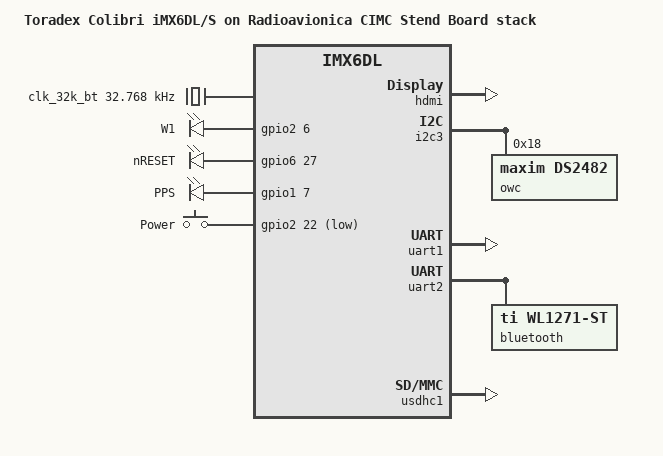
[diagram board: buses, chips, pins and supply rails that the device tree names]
/*
 * Copyright 2014-2016 Toradex AG
 * Copyright 2012 Freescale Semiconductor, Inc.
 * Copyright 2011 Linaro Ltd.
 *
 * This file is dual-licensed: you can use it either under the terms
 * of the GPL or the X11 license, at your option. Note that this dual
 * licensing only applies to this file, and not this project as a
 * whole.
 *
 *  a) This file is free software; you can redistribute it and/or
 *     modify it under the terms of the GNU General Public License
 *     version 2 as published by the Free Software Foundation.
 *
 *     This file is distributed in the hope that it will be useful
 *     but WITHOUT ANY WARRANTY; without even the implied warranty of
 *     MERCHANTABILITY or FITNESS FOR A PARTICULAR PURPOSE.  See the
 *     GNU General Public License for more details.
 *
 * Or, alternatively
 *
 *  b) Permission is hereby granted, free of charge, to any person
 *     obtaining a copy of this software and associated documentation
 *     files (the "Software"), to deal in the Software without
 *     restriction, including without limitation the rights to use
 *     copy, modify, merge, publish, distribute, sublicense, and/or
 *     sell copies of the Software, and to permit persons to whom the
 *     Software is furnished to do so, subject to the following
 *     conditions:
 *
 *     The above copyright notice and this permission notice shall be
 *     included in all copies or substantial portions of the Software.
 *
 *     THE SOFTWARE IS PROVIDED , WITHOUT WARRANTY OF ANY KIND
 *     EXPRESS OR IMPLIED, INCLUDING BUT NOT LIMITED TO THE WARRANTIES
 *     OF MERCHANTABILITY, FITNESS FOR A PARTICULAR PURPOSE AND
 *     NONINFRINGEMENT. IN NO EVENT SHALL THE AUTHORS OR COPYRIGHT
 *     HOLDERS BE LIABLE FOR ANY CLAIM, DAMAGES OR OTHER LIABILITY
 *     WHETHER IN AN ACTION OF CONTRACT, TORT OR OTHERWISE, ARISING
 *     FROM, OUT OF OR IN CONNECTION WITH THE SOFTWARE OR THE USE OR
 *     OTHER DEALINGS IN THE SOFTWARE.
 */

/dts-v1/;

#include <dt-bindings/input/input.h>
#include <dt-bindings/interrupt-controller/irq.h>
#include "imx6dl.dtsi"
#include "imx6qdl-colibri-ravion.dtsi"

/ {
	model = "Toradex Colibri iMX6DL/S on Radioavionica CIMC Stend Board stack";
	compatible = "toradex,mcp", "toradex,colibri_imx6dl-stend",
		"toradex,colibri_imx6dl", "fsl,imx6dl";
	/*
	 * Device specific clocks
	 */
	clocks {
		clk_32k_bt: bt_clk {
			compatible = "fixed-clock";
			#clock-cells = <0>;
			clock-frequency = <32768>;
			clock-accuracy = <100>;
		 };
	};

	/*
	 * Device specific leds
	 */
	gpio-leds {
		compatible = "gpio-leds";
		pinctrl-names = "default";
		pinctrl-0 = <&pinctrl_gpio_leds>;

		w1 {
			label = "W1";
			gpios = <&gpio2 6 GPIO_ACTIVE_HIGH>;
			default-state = "on";
		};

		nreset {
			label = "nRESET";
			gpios = <&gpio6 27 GPIO_ACTIVE_HIGH>;
			default-state = "off";
		};

		pps-led {
			label = "PPS";
			gpios = <&gpio1 7 GPIO_ACTIVE_HIGH>; /* soDimm 55 - GPIO1 board */
			default-state = "on";
		};
	};

	/*
	 * Device specific keys
	 */
	gpio-keys {
		compatible = "gpio-keys";
		pinctrl-names = "default";
		pinctrl-0 = <&pinctrl_gpio_keys>;

		power {
			label = "Power";
			gpios = <&gpio2 22 GPIO_ACTIVE_LOW>; /* SODIMM 45 */
			linux,code = <KEY_POWER>;
			debounce-interval = <100>;
			wakeup-source;
		};
	};
};

/*
 * Display subsystem
 */
&tft_display_bus { status = "disabled"; };
&hdmi { status = "okay"; };

/*
 * Colibri I2C: I2C3_SDA/SCL on SODIMM 194/196 (e.g. RTC on carrier board)
 */
&i2c3 {
	status = "okay";

	/* DS2484: I2C to OneWire Converter */
	owc: ds2482@18 {
		status = "okay";
		compatible = "maxim,ds2482";
		reg = <0x18>;
	};
};

&uart1 { status = "okay"; }; /* default full-feature debug uart */
&uart2 { /* default have CTS/RTS pins */
	status = "okay";

	bluetooth {
		compatible	= "ti,wl1271-st";
		clocks		= <&clk_32k_bt 0>;
		clock-names	= "ext_clock";
		max-speed	= <3686400>;
		current-speed	= <115200>;
		status = "okay";
	};
};

/* external mmc card */
&usdhc1 { status = "okay"; };

/* Board specific io muxing */
&iomuxc {
	pinctrl_gpio_leds: gpio-leds {
		fsl,pins = <
			MX6QDL_PAD_RGMII_RD1__GPIO6_IO27 0xf058 /* PU_22K interal RGMII_RD1 - nRESET OUT */
			MX6QDL_PAD_NANDF_D6__GPIO2_IO06	0x0f058 /* PU_22K soDImm 127: SLPZ@DS2484R   */
			MX6QDL_PAD_GPIO_7__GPIO1_IO07	0x0f058 /* PU_22K soDimm 55: PPS LED */
		>;
	};

	pinctrl_gpio_keys: gpiokeys {
		fsl,pins = <
			MX6QDL_PAD_EIM_A16__GPIO2_IO22		0x1b0b0	/* Power button */
		>;
	};
};
